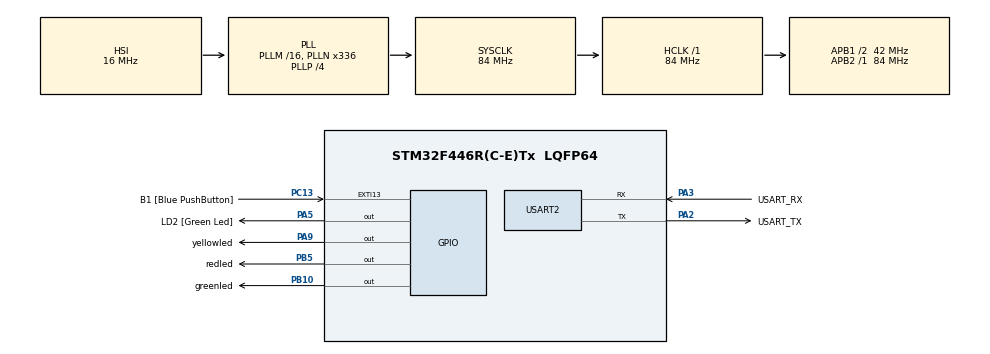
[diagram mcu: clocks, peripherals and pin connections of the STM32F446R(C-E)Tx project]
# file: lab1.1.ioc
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Mcu.Family=STM32F4
Mcu.Name=STM32F446R(C-E)Tx
Mcu.Package=LQFP64
NVIC.PriorityGroup=NVIC_PRIORITYGROUP_0
PA13.GPIO_Label=TMS
PA13.Mode=Serial_Wire
PA13.Signal=SYS_JTMS-SWDIO
PA14.GPIO_Label=TCK
PA14.Mode=Serial_Wire
PA14.Signal=SYS_JTCK-SWCLK
PA2.GPIO_Label=USART_TX
PA2.Mode=Asynchronous
PA2.Signal=USART2_TX
PA3.GPIO_Label=USART_RX
PA3.Mode=Asynchronous
PA3.Signal=USART2_RX
PA5.GPIO_Label=LD2 [Green Led]
PA5.Signal=GPIO_Output
PA9.GPIO_Label=yellowled
PA9.GPIO_Speed=GPIO_SPEED_FREQ_HIGH
PA9.PinState=GPIO_PIN_RESET
PA9.Signal=GPIO_Output
PB10.GPIO_Label=greenled
PB10.GPIO_Speed=GPIO_SPEED_FREQ_HIGH
PB10.PinState=GPIO_PIN_RESET
PB10.Signal=GPIO_Output
PB3.GPIO_Label=SWO
PB3.Signal=SYS_JTDO-SWO
PB5.GPIO_Label=redled
PB5.GPIO_Speed=GPIO_SPEED_FREQ_HIGH
PB5.Signal=GPIO_Output
PC13.GPIO_Label=B1 [Blue PushButton]
PC13.GPIO_ModeDefaultEXTI=GPIO_MODE_IT_FALLING
PC13.Signal=GPXTI13
PC14-OSC32_IN.Mode=LSE-External-Oscillator
PC14-OSC32_IN.Signal=RCC_OSC32_IN
PC15-OSC32_OUT.Mode=LSE-External-Oscillator
PC15-OSC32_OUT.Signal=RCC_OSC32_OUT
PH0-OSC_IN.Mode=HSE-External-Oscillator
PH0-OSC_IN.Signal=RCC_OSC_IN
PH1-OSC_OUT.Mode=HSE-External-Oscillator
PH1-OSC_OUT.Signal=RCC_OSC_OUT
ProjectManager.HeapSize=0x200
ProjectManager.StackSize=0x400
ProjectManager.TargetToolchain=STM32CubeIDE
RCC.48MHZClocksFreq_Value=84000000
RCC.AHBFreq_Value=84000000
RCC.APB1CLKDivider=RCC_HCLK_DIV2
RCC.APB1Freq_Value=42000000
RCC.APB1TimFreq_Value=84000000
RCC.APB2Freq_Value=84000000
RCC.APB2TimFreq_Value=84000000
RCC.CortexFreq_Value=84000000
RCC.FLatency-AdvancedSettings=FLASH_LATENCY_2
RCC.HCLKFreq_Value=84000000
RCC.HSE_VALUE=8000000
RCC.HSI_VALUE=16000000
RCC.PLLN=336
RCC.PLLP=RCC_PLLP_DIV4
RCC.SYSCLKFreq_VALUE=84000000
RCC.SYSCLKSource=RCC_SYSCLKSOURCE_PLLCLK
RCC.USBFreq_Value=168000000
RCC.VCOOutputFreq_Value=336000000
USART2.VirtualMode=VM_ASYNC
board=NUCLEO-F446RE

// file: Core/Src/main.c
/* USER CODE BEGIN Header */
/**
  ******************************************************************************
  * @file           : main.c
  * @brief          : Main program body
  ******************************************************************************
  * @attention
  *
  * Copyright (c) 2024 STMicroelectronics.
  * All rights reserved.
  *
  * This software is licensed under terms that can be found in the LICENSE file
  * in the root directory of this software component.
  * If no LICENSE file comes with this software, it is provided AS-IS.
  *
  ******************************************************************************
  */
/* USER CODE END Header */
#include "main.h"

UART_HandleTypeDef huart2;

void SystemClock_Config(void);
static void MX_GPIO_Init(void);
static void MX_USART2_UART_Init(void);

int main(void)
{

  /* MCU Configuration--------------------------------------------------------*/

  /* Reset of all peripherals, Initializes the Flash interface and the Systick. */
  HAL_Init();

  /* Configure the system clock */
  SystemClock_Config();

  /* Initialize all configured peripherals */
  MX_GPIO_Init();
  MX_USART2_UART_Init();

  /* Infinite loop */
  /* USER CODE BEGIN WHILE */
  /* USER CODE BEGIN WHILE */
  uint32_t last_cycle_time = 0; // Змінна для зберігання часу останнього циклу
  uint8_t button_pressed = 0;   // Змінна для фіксації натискання кнопки

  while (1)
  {
      uint8_t current_button_state = HAL_GPIO_ReadPin(B1_GPIO_Port, B1_Pin);

      if (current_button_state == GPIO_PIN_RESET ) {
          button_pressed = 1;
      }

      if (!button_pressed)
      {
          HAL_GPIO_WritePin(GPIOB, redled_Pin, GPIO_PIN_SET);  // Увімкнути red

          last_cycle_time = HAL_GetTick();
      }

      if (button_pressed)
      {
          if (HAL_GetTick() - last_cycle_time >= 10000)
          {
              HAL_GPIO_WritePin(GPIOB, redled_Pin, GPIO_PIN_RESET);  // Вимкнути зелений

              // Жовтий �?вітлодіод горить 5 �?екунд
              HAL_GPIO_WritePin(GPIOA, yellowled_Pin, GPIO_PIN_SET); // Увімкнути жовтий
              HAL_Delay(5000);                                    // Затримка 5 c
              HAL_GPIO_WritePin(GPIOA, yellowled_Pin, GPIO_PIN_RESET); // Вимкнути жовтий

              for (int i = 0; i < 6; i++)
              {
                  HAL_GPIO_TogglePin(GPIOA, yellowled_Pin); // Перемикання жовтого
                  HAL_Delay(167);                        // Затримка для 3 Гц (167 мс)
              }
              HAL_GPIO_WritePin(GPIOA, yellowled_Pin, GPIO_PIN_RESET); // Вимкнути жовтий

              HAL_GPIO_WritePin(GPIOB, greenled_Pin, GPIO_PIN_SET);  // Увімкнути зелений
              HAL_Delay(10000);
              HAL_GPIO_WritePin(GPIOB, greenled_Pin, GPIO_PIN_RESET);

              for (int i = 0; i < 6; i++)
                           {
                               HAL_GPIO_TogglePin(GPIOA, yellowled_Pin);
                               HAL_Delay(167);
                           }
                           HAL_GPIO_WritePin(GPIOA, yellowled_Pin, GPIO_PIN_RESET); // Вимкнути жовтий

              last_cycle_time = HAL_GetTick();
              button_pressed = 0;
          }
      }
  }
    /* USER CODE END WHILE */

  }

void SystemClock_Config(void)
{
  RCC_OscInitTypeDef RCC_OscInitStruct = {0};
  RCC_ClkInitTypeDef RCC_ClkInitStruct = {0};

  /** Configure the main internal regulator output voltage
  */
  __HAL_RCC_PWR_CLK_ENABLE();
  __HAL_PWR_VOLTAGESCALING_CONFIG(PWR_REGULATOR_VOLTAGE_SCALE3);

  /** Initializes the RCC Oscillators according to the specified parameters
  * in the RCC_OscInitTypeDef structure.
  */
  RCC_OscInitStruct.OscillatorType = RCC_OSCILLATORTYPE_HSI;
  RCC_OscInitStruct.HSIState = RCC_HSI_ON;
  RCC_OscInitStruct.HSICalibrationValue = RCC_HSICALIBRATION_DEFAULT;
  RCC_OscInitStruct.PLL.PLLState = RCC_PLL_ON;
  RCC_OscInitStruct.PLL.PLLSource = RCC_PLLSOURCE_HSI;
  RCC_OscInitStruct.PLL.PLLM = 16;
  RCC_OscInitStruct.PLL.PLLN = 336;
  RCC_OscInitStruct.PLL.PLLP = RCC_PLLP_DIV4;
  RCC_OscInitStruct.PLL.PLLQ = 2;
  RCC_OscInitStruct.PLL.PLLR = 2;
  if (HAL_RCC_OscConfig(&RCC_OscInitStruct) != HAL_OK)
  {
    Error_Handler();
  }

  /** Initializes the CPU, AHB and APB buses clocks
  */
  RCC_ClkInitStruct.ClockType = RCC_CLOCKTYPE_HCLK|RCC_CLOCKTYPE_SYSCLK
                              |RCC_CLOCKTYPE_PCLK1|RCC_CLOCKTYPE_PCLK2;
  RCC_ClkInitStruct.SYSCLKSource = RCC_SYSCLKSOURCE_PLLCLK;
  RCC_ClkInitStruct.AHBCLKDivider = RCC_SYSCLK_DIV1;
  RCC_ClkInitStruct.APB1CLKDivider = RCC_HCLK_DIV2;
  RCC_ClkInitStruct.APB2CLKDivider = RCC_HCLK_DIV1;

  if (HAL_RCC_ClockConfig(&RCC_ClkInitStruct, FLASH_LATENCY_2) != HAL_OK)
  {
    Error_Handler();
  }
}

static void MX_USART2_UART_Init(void)
{

  huart2.Instance = USART2;
  huart2.Init.BaudRate = 115200;
  huart2.Init.WordLength = UART_WORDLENGTH_8B;
  huart2.Init.StopBits = UART_STOPBITS_1;
  huart2.Init.Parity = UART_PARITY_NONE;
  huart2.Init.Mode = UART_MODE_TX_RX;
  huart2.Init.HwFlowCtl = UART_HWCONTROL_NONE;
  huart2.Init.OverSampling = UART_OVERSAMPLING_16;
  if (HAL_UART_Init(&huart2) != HAL_OK)
  {
    Error_Handler();
  }

}

static void MX_GPIO_Init(void)
{
  GPIO_InitTypeDef GPIO_InitStruct = {0};

  /* GPIO Ports Clock Enable */
  __HAL_RCC_GPIOC_CLK_ENABLE();
  __HAL_RCC_GPIOH_CLK_ENABLE();
  __HAL_RCC_GPIOA_CLK_ENABLE();
  __HAL_RCC_GPIOB_CLK_ENABLE();

  /*Configure GPIO pin Output Level */
  HAL_GPIO_WritePin(GPIOA, LD2_Pin|yellowled_Pin, GPIO_PIN_RESET);

  /*Configure GPIO pin Output Level */
  HAL_GPIO_WritePin(GPIOB, greenled_Pin|redled_Pin, GPIO_PIN_RESET);

  /*Configure GPIO pin : B1_Pin */
  GPIO_InitStruct.Pin = B1_Pin;
  GPIO_InitStruct.Mode = GPIO_MODE_IT_FALLING;
  GPIO_InitStruct.Pull = GPIO_NOPULL;
  HAL_GPIO_Init(B1_GPIO_Port, &GPIO_InitStruct);

  /*Configure GPIO pin : LD2_Pin */
  GPIO_InitStruct.Pin = LD2_Pin;
  GPIO_InitStruct.Mode = GPIO_MODE_OUTPUT_PP;
  GPIO_InitStruct.Pull = GPIO_NOPULL;
  GPIO_InitStruct.Speed = GPIO_SPEED_FREQ_LOW;
  HAL_GPIO_Init(LD2_GPIO_Port, &GPIO_InitStruct);

  /*Configure GPIO pins : greenled_Pin redled_Pin */
  GPIO_InitStruct.Pin = greenled_Pin|redled_Pin;
  GPIO_InitStruct.Mode = GPIO_MODE_OUTPUT_PP;
  GPIO_InitStruct.Pull = GPIO_NOPULL;
  GPIO_InitStruct.Speed = GPIO_SPEED_FREQ_HIGH;
  HAL_GPIO_Init(GPIOB, &GPIO_InitStruct);

  /*Configure GPIO pin : yellowled_Pin */
  GPIO_InitStruct.Pin = yellowled_Pin;
  GPIO_InitStruct.Mode = GPIO_MODE_OUTPUT_PP;
  GPIO_InitStruct.Pull = GPIO_NOPULL;
  GPIO_InitStruct.Speed = GPIO_SPEED_FREQ_HIGH;
  HAL_GPIO_Init(yellowled_GPIO_Port, &GPIO_InitStruct);

}

void Error_Handler(void)
{
  __disable_irq();
  while (1)
  {
  }
}
